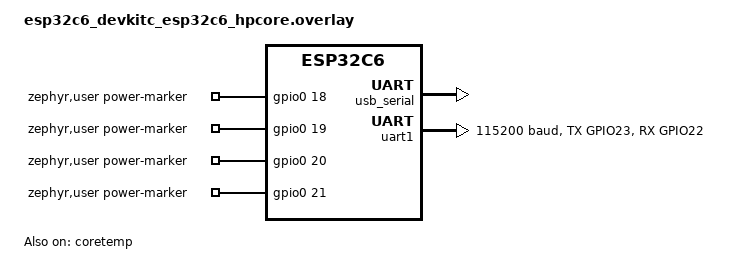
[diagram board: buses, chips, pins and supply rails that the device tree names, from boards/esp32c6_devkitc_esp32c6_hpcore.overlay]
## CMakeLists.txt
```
cmake_minimum_required(VERSION 3.20.0)

find_package(Zephyr REQUIRED HINTS $ENV{ZEPHYR_BASE})
project(zephyr_CellCom_app)

target_sources(app PRIVATE
    src/at_parser.c
    src/client_id.c
    src/ESP32_temperature.c
    src/main.c
    src/modem.c
    src/mqtt_client.c
    src/mqtt_payload.c
    src/power_marker.c
    src/modbus_client.c
    src/sparkplug.c
    src/time_sync.c
    src/wifi_network.c
)

# Sparkplug B payload: generate C structs from the .proto with nanopb.
# proto/sparkplug_b.options next to it limits array/string sizes.
# The generated header is included as "proto/sparkplug_b.pb.h".
list(APPEND CMAKE_MODULE_PATH ${ZEPHYR_BASE}/modules/nanopb)
include(nanopb)
zephyr_nanopb_sources(app proto/sparkplug_b.proto)
```

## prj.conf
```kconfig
CONFIG_NETWORKING=y
CONFIG_WIFI=y
CONFIG_NET_LOG=y
CONFIG_LOG=y
CONFIG_PRINTK=y
CONFIG_SENSOR=y
CONFIG_ESPTOOLPY_FLASHSIZE_4MB=y

CONFIG_NET_TCP=y
CONFIG_NET_IPV4=y
CONFIG_NET_DHCPV4=y

CONFIG_MQTT_LIB=y
CONFIG_NET_SOCKETS=y
CONFIG_POLL=y

CONFIG_ENTROPY_GENERATOR=y

CONFIG_MODBUS=y
CONFIG_MODBUS_ROLE_CLIENT=y
CONFIG_MODBUS_RAW_ADU=y
CONFIG_MODBUS_NUMOF_RAW_ADU=1
# Sparkplug B payloads (protobuf, via nanopb module)
CONFIG_NANOPB=y

# SNTP for real UTC timestamps in Sparkplug payloads
CONFIG_SNTP=y
CONFIG_NET_UDP=y
CONFIG_DNS_RESOLVER=y

# SIM7080G cellular modem on UART1 (AT commands, see modem.c / at_parser.c)
CONFIG_SERIAL=y
CONFIG_UART_INTERRUPT_DRIVEN=y
CONFIG_RING_BUFFER=y

# Main thread does the sampling loop
CONFIG_MAIN_STACK_SIZE=2048
```

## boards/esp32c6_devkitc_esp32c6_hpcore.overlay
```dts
#include <zephyr/dt-bindings/pinctrl/esp32c6-pinctrl.h>
#include <zephyr/dt-bindings/gpio/gpio.h>

/ {
    chosen {
        zephyr,console = &usb_serial;
        zephyr,shell-uart = &usb_serial;
    };

    /* Phase markers for PPK2 current measurements (power_marker.h).
     * Only driven when APP_POWER_MARKERS = 1. PPK2 logic port D0-D3. */
    zephyr,user {
        power-marker-gpios = <&gpio0 18 GPIO_ACTIVE_HIGH>,
                             <&gpio0 19 GPIO_ACTIVE_HIGH>,
                             <&gpio0 20 GPIO_ACTIVE_HIGH>,
                             <&gpio0 21 GPIO_ACTIVE_HIGH>;
    };
};

&usb_serial {
    status = "okay";
};

&coretemp {
    status = "okay";
    range-min = <(-10)>;
    range-max = <80>;
};

/* SIM7080G (M5Stamp CatM) cellular modem: ESP TX = GPIO23, RX = GPIO22 */
&pinctrl {
    uart1_modem: uart1_modem {
        group1 {
            pinmux = <UART1_TX_GPIO23>;
            output-high;
        };
        group2 {
            pinmux = <UART1_RX_GPIO22>;
            bias-pull-up;
        };
    };
};

&uart1 {
    status = "okay";
    current-speed = <115200>;
    pinctrl-0 = <&uart1_modem>;
    pinctrl-names = "default";
};
```

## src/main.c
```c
#include <zephyr/kernel.h>
#include <zephyr/logging/log.h>

#include "app_config.h"
#include "client_id.h"
#include "wifi_network.h"
#include "mqtt_client.h"
#include "time_sync.h"
#include "modbus_client.h"
#include "power_marker.h"

LOG_MODULE_REGISTER(app, LOG_LEVEL_INF);

/* A Modbus reading older than this is treated as missing (2 polls + slack) */
#define PLC_MAX_AGE_MS (2 * MODBUS_POLL_INTERVAL_MS + 1000)

BUILD_ASSERT(MODBUS_NUM_SENSORS == SP_NUM_SENSORS,
	     "Modbus register map and Sparkplug metrics must have the same sensors");

#ifdef APP_FAKE_PLC_DATA
/* Test mode: made-up PLC values, so the whole chain (Sparkplug -> broker ->
 * QuestDB) can be tested without the SimPLC. Every 6th sample flags the
 * bottom sensor as failed, to exercise the null values. */
static int fake_plc_sample(struct sparkplug_sample *s)
{
	static uint32_t n;

	n++;
	for (int i = 0; i < SP_NUM_SENSORS; i++) {
		s->temperature_c[i] = 20.0f + 2.0f * i + (float)(n % 5);
		s->humidity_pct[i] = 40.0f + 5.0f * i + (float)(n % 3);
	}
	s->plc_status = (n % 6 == 0) ? 0x4 : 0;
	s->plc_ok = true;
	return 0;
}
#endif

/* Fills s from the latest SimPLC reading. Sets s->plc_ok = false (all values
 * become null in Sparkplug) when there is no fresh reading or the PLC's
 * heartbeat has stopped, i.e. its scan cycle hangs and the values are old. */
static void plc_sample(struct sparkplug_sample *s)
{
#ifdef APP_FAKE_PLC_DATA
	fake_plc_sample(s);
#else
	static uint16_t last_heartbeat;
	static bool have_last;
	struct modbus_readings r;

	s->plc_ok = false;
	if (modbus_client_get_readings(&r) != 0) {
		LOG_WRN("no Modbus data from SimPLC");
		return;
	}
	if (k_uptime_get() - r.timestamp_ms > PLC_MAX_AGE_MS) {
		LOG_WRN("Modbus data is %lld ms old", (long long)(k_uptime_get() - r.timestamp_ms));
		return;
	}
	if (r.heartbeat == 0 || (have_last && r.heartbeat == last_heartbeat)) {
		LOG_WRN("SimPLC heartbeat not running (%u)", r.heartbeat);
		last_heartbeat = r.heartbeat;
		have_last = true;
		return;
	}
	last_heartbeat = r.heartbeat;
	have_last = true;

	for (int i = 0; i < SP_NUM_SENSORS; i++) {
		s->temperature_c[i] = r.temp_x10[i] / 10.0f;
		s->humidity_pct[i] = r.hum_x10[i] / 10.0f;
	}
	s->plc_status = r.status;
	s->plc_ok = true;
	/* Stamp with the time the PLC values were read, not when we sampled */
	s->timestamp_ms = (uint64_t)r.timestamp_ms;

	LOG_INF("PLC x10 temp %d %d %d, hum %d %d %d, status 0x%x",
		r.temp_x10[0], r.temp_x10[1], r.temp_x10[2],
		r.hum_x10[0], r.hum_x10[1], r.hum_x10[2], r.status);
#endif
}

int main(void)
{
	LOG_INF("Zephyr app started");
	power_marker_init();

	build_client_id_initialize();
	LOG_INF("client id: %s", build_client_id_get());

	/* Wi-Fi: the local network to the SimPLC (Modbus TCP), and the uplink
	 * when APP_UPLINK_CELLULAR = 0. APP_DISABLE_WIFI (test only, with
	 * APP_FAKE_PLC_DATA) keeps the Wi-Fi radio off. */
#ifdef APP_DISABLE_WIFI
	LOG_WRN("APP_DISABLE_WIFI: Wi-Fi radio not started");
#else
	if (network_initialize() != 0) {
		LOG_ERR("network init failed");
	}
#endif

#if !APP_UPLINK_CELLULAR
	/* Real UTC timestamps for Sparkplug. If this fails, the MQTT thread
	 * retries before each session. With the cellular uplink the MQTT thread
	 * gets the time from the modem once the data connection is up. */
	time_sync_initialize();
#endif

	mqtt_client_initialize();

#ifdef APP_FAKE_PLC_DATA
	LOG_WRN("APP_FAKE_PLC_DATA: sending made-up PLC values, not the SimPLC's");
#else
	if (modbus_client_initialize() != 0) {
		LOG_ERR("modbus init failed");
	}
#endif

	/* Application thread: sample on a fixed interval and queue the result.
	 * The MQTT thread batches and publishes, so a slow or broken network
	 * never shifts the sampling interval. */
	int64_t next = k_uptime_get();

	while (1) {
		/* Stamped with uptime (replaced by the PLC read time when there is
		 * fresh data); converted to UTC when it is sent */
		struct sparkplug_sample s = { .timestamp_ms = (uint64_t)k_uptime_get() };

		power_marker_set(PM_MARK_SAMPLE, true);
		plc_sample(&s);
		/* Queued even without PLC data: the nulls show the gap in QuestDB */
		mqtt_client_queue_sample(&s);
		power_marker_set(PM_MARK_SAMPLE, false);

		next += APP_SAMPLE_INTERVAL_S * MSEC_PER_SEC;
		k_sleep(K_TIMEOUT_ABS_MS(next));
	}

	return 0;
}
```

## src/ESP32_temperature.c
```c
#include <zephyr/kernel.h>
#include <zephyr/device.h>
#include <zephyr/drivers/sensor.h>
#include <zephyr/logging/log.h>

#include "ESP32_temperature.h"

LOG_MODULE_REGISTER(temperature, LOG_LEVEL_INF);

static const struct device *const temperature_sensor =
	DEVICE_DT_GET(DT_ALIAS(die_temp0));

int ESP32_temperature_initialize(void)
{
	if (!device_is_ready(temperature_sensor)) {
		LOG_ERR("Internal temperature sensor is not ready");
		return -ENODEV;
	}
	return 0;
}

int ESP32_temperature_read(float *celsius)
{
	struct sensor_value temperature;
	int ret;

	ret = sensor_sample_fetch(temperature_sensor);
	if (ret == 0) {
		ret = sensor_channel_get(temperature_sensor, SENSOR_CHAN_DIE_TEMP,
					 &temperature);
	}
	if (ret) {
		LOG_ERR("Failed to read internal temperature: %d", ret);
		return ret;
	}

	*celsius = (float)sensor_value_to_double(&temperature);
	return 0;
}
```

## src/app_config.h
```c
/* app_config.h - tunables for sampling, batching and Sparkplug naming.
 *
 * Everything that changes the data/power trade-off lives here, so it can be
 * tuned in one place (and argued for in the report).
 */

/* *** POWER TEST BRANCH: test 3 no batching: one session per sample (10 s). Not for production. *** */
#pragma once

/* Sparkplug B group id: first level after "spBv1.0/" in every topic.
 * Keep it short - it is sent in every single topic string. */
#ifndef SPARKPLUG_GROUP_ID
#define SPARKPLUG_GROUP_ID "GRP1"
#endif

/* How often the sensor is read (kravspec Projekt A: 5-15 s). */
#define APP_SAMPLE_INTERVAL_S   10

/* How often the node connects and sends everything it has collected
 * (option A: connect -> NBIRTH -> NDATA... -> NDEATH -> disconnect).
 * 3600 = hourly. Use something like 60 while developing. */
#ifndef APP_PUBLISH_INTERVAL_S
#define APP_PUBLISH_INTERVAL_S  10
#endif

/* After a failed session (no network, broker down) try again this soon. */
#ifndef APP_RETRY_INTERVAL_S
#define APP_RETRY_INTERVAL_S    300
#endif

/* Samples per NDATA message follow from the metric limit and the uplink's
 * message size (see SPARKPLUG_MAX_SAMPLES_PER_NDATA and mqtt_client.c).
 * One hour at 10 s = 360 samples of 7 metrics each: over cellular that is
 * ~52 messages of ~0.9 kB per session. */

/* Samples kept in RAM (40 B each, ~29 kB for 720). Two publish intervals, so
 * one failed session loses nothing. When full, the oldest sample is dropped. */
#define APP_SAMPLE_QUEUE_LEN    (2 * APP_PUBLISH_INTERVAL_S / APP_SAMPLE_INTERVAL_S)

/* Uplink to the broker: 1 = SIM7080G cellular modem (LTE-M) on UART1,
 * 0 = Wi-Fi with Zephyr's own MQTT client. Wi-Fi is started either way,
 * because Modbus TCP to the SimPLC runs over the local Wi-Fi.
 * Override with -DEXTRA_CFLAGS=-DAPP_UPLINK_CELLULAR=0 */
#ifndef APP_UPLINK_CELLULAR
#define APP_UPLINK_CELLULAR     1
#endif
#define APP_MODEM_APN           "onomondo"
/* How long to wait for LTE registration in a session before giving up. */
#define APP_MODEM_ATTACH_MS     120000

/* MQTT over TLS (issue #22). Cellular uplink only: TLS runs inside the
 * modem. The broker's TLS listener is on APP_MQTT_TLS_PORT; the CA its
 * certificate is checked against lives in mqtt_ca_cert.h.
 * Override with -DEXTRA_CFLAGS=-DAPP_MQTT_TLS=0 for plain MQTT on 1883. */
#ifndef APP_MQTT_TLS
#define APP_MQTT_TLS            1
#endif
#define APP_MQTT_TLS_PORT       8883

/* ---- Power measurement switches (PPK2 tests, see IoTEdge/tests/power) ---- */

/* 1 = drive phase markers on GPIO18-21 for the PPK2 logic port. */
#ifndef APP_POWER_MARKERS
#define APP_POWER_MARKERS       1
#endif

/* 1 = "no power saving": connect once and stay connected, publish every
 * sample right away as its own NDATA (no batching, no disconnect).
 * Cellular uplink only. 0 = option A sessions (the normal design). */
#ifndef APP_PERSISTENT_SESSION
#define APP_PERSISTENT_SESSION  0
#endif

/* SNTP: real UTC time for Sparkplug timestamps. Re-synced before a session
 * when the last sync is older than this, to correct clock drift. */
#define APP_SNTP_SERVER         "pool.ntp.org"
#define APP_SNTP_RESYNC_S       (24 * 3600)
```

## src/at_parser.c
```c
#include "at_parser.h"

#include <errno.h>
#include <string.h>
#include <zephyr/drivers/uart.h>
#include <zephyr/logging/log.h>
#include <zephyr/sys/atomic.h>
#include <zephyr/sys/ring_buffer.h>

LOG_MODULE_REGISTER(at_parser, LOG_LEVEL_INF);

struct urc_entry {
	const char *prefix;
	at_urc_cb_t cb;
	void *user;
	uint32_t flags;
};

/* Tilstand for den kommando der venter på svar. Beskyttes af st_mtx. */
struct at_state {
	bool pending;
	const char *cmd;      /* bruges til ekko-skip og til at genkende svarlinjer */
	const char *expect;   /* ekstra påkrævet linje-præfiks (kan være NULL) */
	bool prompt;          /* vent på '>' i stedet for OK */
	bool got_ok;
	bool got_expect;
	int result;
	char *resp;
	size_t resp_len;
	size_t resp_pos;
};

static const struct device *uart_dev;
static bool initialized;

static uint8_t rx_storage[AT_RX_RING_SIZE];
static struct ring_buf rx_rb;
static atomic_t rx_dropped;

static K_SEM_DEFINE(rx_sem, 0, 1);
static K_SEM_DEFINE(done_sem, 0, 1);
static K_MUTEX_DEFINE(cmd_mtx);   /* én kommando ad gangen */
static K_MUTEX_DEFINE(st_mtx);    /* beskytter st */

static K_THREAD_STACK_DEFINE(rx_stack, AT_RX_STACK_SIZE);
static struct k_thread rx_thread;

static struct urc_entry urcs[AT_MAX_URC];
static size_t n_urc;
static struct at_state st;

/* Last error line from the modem ("+CME ERROR: ..." with AT+CMEE=2), so a
 * failed command is logged with the reason, even when the caller passed no
 * response buffer. Protected by st_mtx. */
static char last_err[64];

/* ------------------------------------------------------------------ */
/* Hjælpere (kaldes med st_mtx låst)                                   */
/* ------------------------------------------------------------------ */

static void complete(int result)
{
	st.pending = false;
	st.result = result;
	k_sem_give(&done_sem);
}

static void check_done(void)
{
	if (st.got_ok && (st.expect == NULL || st.got_expect)) {
		complete(0);
	}
}

static void resp_append(const char *line)
{
	if (!st.resp || st.resp_len == 0) {
		return;
	}
	size_t n = strlen(line);

	if (st.resp_pos + n + 2 > st.resp_len) {
		LOG_WRN("resp-buffer fuld, linje droppet");
		return;
	}
	memcpy(&st.resp[st.resp_pos], line, n);
	st.resp_pos += n;
	st.resp[st.resp_pos++] = '\n';
	st.resp[st.resp_pos] = '\0';
}

static bool starts_with(const char *s, const char *prefix)
{
	return strncmp(s, prefix, strlen(prefix)) == 0;
}

static bool is_error(const char *line)
{
	return strcmp(line, "ERROR") == 0 || starts_with(line, "+CME ERROR") ||
	       starts_with(line, "+CMS ERROR");
}

/* "+CEREG: 0,5" er et svar på "AT+CEREG?" - navnet før ':' findes i kommandoen. */
static bool cmd_owns_line(const char *line)
{
	const char *colon = strchr(line, ':');

	if (!st.cmd || line[0] != '+' || !colon) {
		return false;
	}
	char name[24];
	size_t n = (size_t)(colon - line);

	if (n >= sizeof(name)) {
		return false;
	}
	memcpy(name, line, n);
	name[n] = '\0';
	return strstr(st.cmd, name) != NULL;
}

/* ------------------------------------------------------------------ */
/* Linjebehandling (kører i RX-tråden)                                 */
/* ------------------------------------------------------------------ */

static void process_line(const char *line)
{
	at_urc_cb_t cb = NULL;
	void *user = NULL;

	k_mutex_lock(&st_mtx, K_FOREVER);

	if (st.pending) {
		/* 1. ekko af vores egen kommando */
		if (st.cmd && strcmp(line, st.cmd) == 0) {
			goto out;
		}
		/* 2. ventet linje (fx "+APP PDP: 0,ACTIVE") - går forud for URC-dispatch */
		if (st.expect && starts_with(line, st.expect)) {
			resp_append(line);
			st.got_expect = true;
			if (st.got_ok) {
				check_done();
			}
			goto out;
		}
		/* Fil-upload (AT+CFSWFILE) beder om data med linjen "DOWNLOAD" i stedet for ">" */
		if (st.prompt && strcmp(line, "DOWNLOAD") == 0) {
			complete(0);
			goto out;
		}
		/* 3. slutkoder */
		if (strcmp(line, "OK") == 0) {
			st.got_ok = true;
			check_done();
			goto out;
		}
		if (is_error(line)) {
			resp_append(line);
			strncpy(last_err, line, sizeof(last_err) - 1);
			last_err[sizeof(last_err) - 1] = '\0';
			complete(-EIO);
			goto out;
		}
	}

	/* 4. URC? */
	for (size_t i = 0; i < n_urc; i++) {
		if (!starts_with(line, urcs[i].prefix)) {
			continue;
		}
		if (st.pending && !(urcs[i].flags & AT_URC_ALWAYS) && cmd_owns_line(line)) {
			break; /* svar på den aktuelle kommando, ikke URC */
		}
		cb = urcs[i].cb;
		user = urcs[i].user;
		goto out;
	}

	/* 5. alt andet under en kommando er svar (fx ATI / AT+CGMR har ingen præfiks) */
	if (st.pending) {
		resp_append(line);
	} else {
		LOG_DBG("ukendt linje: %s", line);
	}

out:
	k_mutex_unlock(&st_mtx);
	if (cb) {
		cb(line, user);
	}
}

static char line_buf[AT_LINE_MAX];
static size_t line_len;
static bool line_overflow;

static void feed(uint8_t c)
{
	if (c == '\r' || c == '\n') {
		if (line_overflow) {
			LOG_WRN("linje > %d bytes droppet", AT_LINE_MAX - 1);
		} else if (line_len > 0) {
			line_buf[line_len] = '\0';
			process_line(line_buf);
		}
		line_len = 0;
		line_overflow = false;
		return;
	}
	if (line_len == 0 && c == ' ') {
		return; /* spring ledende mellemrum over (fx "> ") */
	}
	if (line_len >= AT_LINE_MAX - 1) {
		line_overflow = true;
		return;
	}
	line_buf[line_len++] = (char)c;

	/* Prompt ">" kommer uden linjeskift */
	if (line_len == 1 && c == '>') {
		bool consumed = false;

		k_mutex_lock(&st_mtx, K_FOREVER);
		if (st.pending && st.prompt) {
			complete(0);
			consumed = true;
		}
		k_mutex_unlock(&st_mtx);
		if (consumed) {
			line_len = 0;
		}
	}
}

static void rx_entry(void *a, void *b, void *c)
{
	ARG_UNUSED(a);
	ARG_UNUSED(b);
	ARG_UNUSED(c);

	for (;;) {
		k_sem_take(&rx_sem, K_FOREVER);
		uint8_t ch;

		while (ring_buf_get(&rx_rb, &ch, 1) == 1) {
			feed(ch);
		}
	}
}

static void uart_isr(const struct device *dev, void *user_data)
{
	ARG_UNUSED(user_data);

	while (uart_irq_update(dev) && uart_irq_is_pending(dev)) {
		if (!uart_irq_rx_ready(dev)) {
			break;
		}
		uint8_t buf[32];
		int n;

		while ((n = uart_fifo_read(dev, buf, sizeof(buf))) > 0) {
			uint32_t put = ring_buf_put(&rx_rb, buf, (uint32_t)n);

			if (put < (uint32_t)n) {
				atomic_add(&rx_dropped, (atomic_val_t)(n - put));
			}
		}
		k_sem_give(&rx_sem);
	}
}

/* ------------------------------------------------------------------ */
/* TX og kommando-flow                                                 */
/* ------------------------------------------------------------------ */

static void tx(const void *data, size_t len)
{
	const uint8_t *p = data;

	for (size_t i = 0; i < len; i++) {
		uart_poll_out(uart_dev, p[i]);
	}
}

static void arm(const char *cmd, const char *expect, bool prompt, char *resp, size_t resp_len)
{
	k_mutex_lock(&st_mtx, K_FOREVER);
	memset(&st, 0, sizeof(st));
	st.pending = true;
	st.cmd = cmd;
	st.expect = expect;
	st.prompt = prompt;
	st.resp = resp;
	st.resp_len = resp_len;
	if (resp && resp_len) {
		resp[0] = '\0';
	}
	k_sem_reset(&done_sem);
	k_mutex_unlock(&st_mtx);
}

static int wait_done(k_timeout_t timeout)
{
	int ret;

	if (k_sem_take(&done_sem, timeout) != 0) {
		k_mutex_lock(&st_mtx, K_FOREVER);
		if (st.pending) {
			st.pending = false;
			ret = -ETIMEDOUT;
		} else {
			ret = st.result; /* blev færdig lige ved timeout */
		}
		k_mutex_unlock(&st_mtx);
		return ret;
	}
	k_mutex_lock(&st_mtx, K_FOREVER);
	ret = st.result;
	k_mutex_unlock(&st_mtx);
	return ret;
}

static void send_line(const char *cmd)
{
	tx(cmd, strlen(cmd));
	tx("\r", 1);
}

static int run(const char *cmd, const char *expect, char *resp, size_t resp_len,
	       k_timeout_t timeout)
{
	if (!initialized) {
		return -EBUSY;
	}
	if (!cmd || (resp == NULL) != (resp_len == 0)) {
		return -EINVAL;
	}
	k_mutex_lock(&cmd_mtx, K_FOREVER);
	arm(cmd, expect, false, resp, resp_len);
	LOG_DBG("> %s", cmd);
	send_line(cmd);
	int ret = wait_done(timeout);

	if (ret == -EIO) {
		LOG_WRN("'%s' -> %s", cmd, last_err);
	} else if (ret) {
		LOG_WRN("'%s' -> %d", cmd, ret);
	}
	k_mutex_unlock(&cmd_mtx);
	return ret;
}

/* ------------------------------------------------------------------ */
/* API                                                                 */
/* ------------------------------------------------------------------ */

int at_init(const struct device *uart)
{
	if (initialized) {
		return -EALREADY;
	}
	if (!uart || !device_is_ready(uart)) {
		return -ENODEV;
	}
	uart_dev = uart;
	ring_buf_init(&rx_rb, sizeof(rx_storage), rx_storage);

	int ret = uart_irq_callback_user_data_set(uart_dev, uart_isr, NULL);

	if (ret < 0) {
		LOG_ERR("UART IRQ API ikke understoettet (%d) - tjek CONFIG_UART_INTERRUPT_DRIVEN",
			ret);
		return ret;
	}
	uart_irq_rx_enable(uart_dev);

	k_thread_create(&rx_thread, rx_stack, K_THREAD_STACK_SIZEOF(rx_stack), rx_entry, NULL,
			NULL, NULL, K_PRIO_PREEMPT(5), 0, K_NO_WAIT);
	k_thread_name_set(&rx_thread, "at_rx");

	initialized = true;
	return 0;
}

int at_register_urc(const char *prefix, at_urc_cb_t cb, void *user, uint32_t flags)
{
	if (!prefix || !cb) {
		return -EINVAL;
	}
	if (n_urc >= AT_MAX_URC) {
		return -ENOSPC;
	}
	k_mutex_lock(&st_mtx, K_FOREVER);
	urcs[n_urc] = (struct urc_entry){ prefix, cb, user, flags };
	n_urc++;
	k_mutex_unlock(&st_mtx);
	return 0;
}

int at_send(const char *cmd, char *resp, size_t resp_len, k_timeout_t timeout)
{
	return run(cmd, NULL, resp, resp_len, timeout);
}

int at_send_expect(const char *cmd, const char *expect, char *resp, size_t resp_len,
		   k_timeout_t timeout)
{
	if (!expect) {
		return -EINVAL;
	}
	return run(cmd, expect, resp, resp_len, timeout);
}

int at_send_data(const char *cmd, const void *data, size_t len, k_timeout_t timeout)
{
	if (!initialized) {
		return -EBUSY;
	}
	if (!cmd || !data || len == 0) {
		return -EINVAL;
	}
	k_mutex_lock(&cmd_mtx, K_FOREVER);

	/* fase 1: kommando -> ">" */
	arm(cmd, NULL, true, NULL, 0);
	send_line(cmd);
	int ret = wait_done(timeout);

	if (ret == 0) {
		/* fase 2: data -> OK. Arm FØR data sendes, så OK ikke overses. */
		arm(cmd, NULL, false, NULL, 0);
		/* Modemet skriver "> " og skal derefter skifte til datatilstand. Sendes data
		 * i samme øjeblik som '>' ses, kan de første bytes gå tabt (set med TLS på
		 * SIM7080: tabte/ødelagte beskeder og "malformed packet" på brokeren). */
		k_msleep(AT_PROMPT_DELAY_MS);
		tx(data, len);
		ret = wait_done(timeout);
	}
	if (ret) {
		if (ret == -EIO) {
			LOG_WRN("'%s' (%u bytes) -> %s", cmd, (unsigned int)len, last_err);
		} else {
			LOG_WRN("'%s' (%u bytes) -> %d", cmd, (unsigned int)len, ret);
		}
	}
	k_mutex_unlock(&cmd_mtx);
	return ret;
}

uint32_t at_rx_dropped(void)
{
	return (uint32_t)atomic_get(&rx_dropped);
}
```

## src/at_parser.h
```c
/*
 * at_parser.h - generisk AT-kommandolag oven på en Zephyr UART (interrupt-drevet)
 *
 * Kender intet til SIMCom. Ansvar:
 *  - RX via UART IRQ -> ring buffer -> RX-tråd der samler linjer
 *  - én kommando ad gangen: send, saml svarlinjer, vent på OK / ERROR / +CME ERROR / timeout
 *  - URC-dispatch på prefix (uopfordrede linjer, fx "+APP PDP: 0,DEACTIVE")
 *  - prompt-kommandoer ("AT+SMPUB=..." -> ">" -> rå data -> OK)
 *
 * URC-callbacks kaldes fra RX-tråden: hold dem korte og kald ALDRIG at_send*() herfra.
 */
#ifndef AT_PARSER_H_
#define AT_PARSER_H_

#include <stddef.h>
#include <stdint.h>
#include <zephyr/kernel.h>
#include <zephyr/device.h>

#ifdef __cplusplus
extern "C" {
#endif

#ifndef AT_LINE_MAX
#define AT_LINE_MAX 1152      /* længste linje der kan modtages (inkl. +SMSUB payload) */
#endif
#ifndef AT_RX_RING_SIZE
#define AT_RX_RING_SIZE 2048  /* ISR -> tråd */
#endif
#ifndef AT_RX_STACK_SIZE
#define AT_RX_STACK_SIZE 3072
#endif
#ifndef AT_MAX_URC
#define AT_MAX_URC 16
#endif
#ifndef AT_PROMPT_DELAY_MS
#define AT_PROMPT_DELAY_MS 20 /* pause mellem ">" og data i at_send_data() */
#endif

/* URC-flag: linjen er ALTID et URC, også selvom den aktuelle kommando har samme præfiks
 * (fx "+SMSUB:" som kan komme midt i svaret på AT+SMSUB=...). */
#define AT_URC_ALWAYS BIT(0)

typedef void (*at_urc_cb_t)(const char *line, void *user);

/** Start RX (IRQ + tråd). Kræver CONFIG_UART_INTERRUPT_DRIVEN. */
int at_init(const struct device *uart);

/** Registrér callback for linjer der starter med prefix (fx "+CEREG:"). prefix skal leve evigt. */
int at_register_urc(const char *prefix, at_urc_cb_t cb, void *user, uint32_t flags);

/**
 * Send cmd (uden \r), vent på OK.
 * Returnerer 0 ved OK, -EIO ved ERROR/+CME ERROR (fejllinjen står i resp),
 * -ETIMEDOUT ved timeout, -EBUSY hvis parseren ikke er klar, -EINVAL ved ugyldige argumenter.
 * resp (valgfri) får alle svarlinjer mellem kommando og OK, adskilt af '\n'.
 */
int at_send(const char *cmd, char *resp, size_t resp_len, k_timeout_t timeout);

/**
 * Som at_send, men lykkes først når OK er set OG en linje der starter med `expect` er set
 * (til kommandoer hvor resultatet kommer som URC efter OK, fx "+APP PDP: 0,ACTIVE").
 */
int at_send_expect(const char *cmd, const char *expect, char *resp, size_t resp_len,
		   k_timeout_t timeout);

/**
 * Prompt-kommando: send cmd, vent på ">" (eller linjen "DOWNLOAD", som AT+CFSWFILE bruger),
 * send `data` (len bytes, binærsikkert), vent på OK.
 * timeout gælder for hver af de to faser.
 */
int at_send_data(const char *cmd, const void *data, size_t len, k_timeout_t timeout);

/** Antal bytes tabt pga. fuld RX-ring siden start (diagnostik). */
uint32_t at_rx_dropped(void);

#ifdef __cplusplus
}
#endif

#endif /* AT_PARSER_H_ */
```

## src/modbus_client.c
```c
/* Modbus TCP master: Zephyr raw-ADU client + our own TCP transport */
#include "modbus_client.h"
#include "modbus_settings.h"
#include "power_marker.h"

#include <errno.h>
#include <string.h>
#include <zephyr/kernel.h>
#include <zephyr/logging/log.h>
#include <zephyr/modbus/modbus.h>
#include <zephyr/net/socket.h>
#include <zephyr/sys/byteorder.h>

LOG_MODULE_REGISTER(modbus_edge, LOG_LEVEL_INF);

#define ADU_DATA_MAX     (CONFIG_MODBUS_BUFFER_SIZE - 4)
#define POLL_STACK_SIZE  4096
#define IO_TIMEOUT_MS    1000

static int iface = -1;
static int sock = -1;

static K_MUTEX_DEFINE(txn_lock);    /* one transaction at a time, owns sock */
static K_MUTEX_DEFINE(data_lock);   /* protects latest */
static struct modbus_readings latest;
static bool latest_valid;

static K_THREAD_STACK_DEFINE(poll_stack, POLL_STACK_SIZE);
static struct k_thread poll_thread_data;

static void sock_close(void)
{
	if (sock >= 0) {
		zsock_close(sock);
		sock = -1;
	}
}

static int sock_open(void)
{
	struct sockaddr_in addr = {
		.sin_family = AF_INET,
		.sin_port = htons(MODBUS_SERVER_PORT),
	};
	int fd;

	if (zsock_inet_pton(AF_INET, MODBUS_SERVER_IP, &addr.sin_addr) != 1) {
		LOG_ERR("Invalid Modbus server IP");
		return -EINVAL;
	}

	fd = zsock_socket(AF_INET, SOCK_STREAM, IPPROTO_TCP);
	if (fd < 0) {
		return -errno;
	}

	if (zsock_connect(fd, (struct sockaddr *)&addr, sizeof(addr)) < 0) {
		int err = -errno;

		zsock_close(fd);
		LOG_WRN("Modbus TCP connect failed: %d", err);
		return err;
	}

	sock = fd;
	LOG_INF("Modbus TCP connected");
	return 0;
}

static int send_all(int fd, const uint8_t *buf, size_t len)
{
	size_t sent = 0;

	while (sent < len) {
		ssize_t n = zsock_send(fd, buf + sent, len - sent, 0);

		if (n < 0) {
			return -errno;
		}
		sent += n;
	}
	return 0;
}

static int recv_exact(int fd, uint8_t *buf, size_t len, int timeout_ms)
{
	int64_t deadline = k_uptime_get() + timeout_ms;
	size_t got = 0;

	while (got < len) {
		int64_t left = deadline - k_uptime_get();
		struct zsock_pollfd p = { .fd = fd, .events = ZSOCK_POLLIN };
		ssize_t n;
		int rc;

		if (left <= 0) {
			return -ETIMEDOUT;
		}
		rc = zsock_poll(&p, 1, (int)left);
		if (rc < 0) {
			return -errno;
		}
		if (rc == 0) {
			return -ETIMEDOUT;
		}
		n = zsock_recv(fd, buf + got, len - got, 0);
		if (n < 0) {
			return -errno;
		}
		if (n == 0) {
			return -ECONNRESET;
		}
		got += n;
	}
	return 0;
}

/* Called by Zephyr's client in the caller's thread with the request ADU.
 * We send it, read and validate the reply, and hand it back with
 * modbus_raw_submit_rx(). The return value is ignored by Zephyr; if we
 * submit nothing, the client times out.
 */
static int raw_tx_cb(const int idx, const struct modbus_adu *adu, void *user_data)
{
	uint8_t frame[MODBUS_MBAP_AND_FC_LENGTH + ADU_DATA_MAX];
	uint8_t hdr[MODBUS_MBAP_AND_FC_LENGTH];
	struct modbus_adu rx = {0};
	uint16_t mbap_len;
	int rc;

	ARG_UNUSED(user_data);

	if (sock < 0) {
		return -ENOTCONN;
	}
	if (adu->length > ADU_DATA_MAX) {
		return -EMSGSIZE;
	}

	modbus_raw_put_header(adu, frame);
	memcpy(&frame[MODBUS_MBAP_AND_FC_LENGTH], adu->data, adu->length);

	rc = send_all(sock, frame, MODBUS_MBAP_AND_FC_LENGTH + adu->length);
	if (rc) {
		goto fail;
	}

	rc = recv_exact(sock, hdr, sizeof(hdr), IO_TIMEOUT_MS);
	if (rc) {
		goto fail;
	}

	/* Input validation (62443 CR 3.5): length, protocol, ids, function code */
	mbap_len = sys_get_be16(&hdr[4]);
	if (mbap_len < 2 || (mbap_len - 2) > ADU_DATA_MAX) {
		rc = -EBADMSG;
		goto fail;
	}

	modbus_raw_get_header(&rx, hdr);
	if (rx.proto_id != 0 || rx.trans_id != adu->trans_id ||
	    rx.unit_id != adu->unit_id ||
	    (rx.fc != adu->fc && rx.fc != (adu->fc | 0x80))) {
		rc = -EPROTO;
		goto fail;
	}

	rc = recv_exact(sock, rx.data, rx.length, IO_TIMEOUT_MS);
	if (rc) {
		goto fail;
	}

	return modbus_raw_submit_rx(idx, &rx);

fail:
	LOG_WRN("Modbus TCP transaction failed: %d", rc);
	sock_close();   /* any error: drop the connection, poll thread reconnects */
	return rc;
}

static int connect_locked(void)
{
	return (sock >= 0) ? 0 : sock_open();
}

static void store_readings(const uint16_t *regs)
{
	k_mutex_lock(&data_lock, K_FOREVER);
	for (int i = 0; i < MODBUS_NUM_SENSORS; i++) {
		latest.temp_x10[i] = (int16_t)regs[2 * i];
		latest.hum_x10[i] = (int16_t)regs[2 * i + 1];
	}
	latest.heartbeat = regs[MODBUS_IDX_HEARTBEAT];
	latest.status = regs[MODBUS_IDX_STATUS];
	latest.timestamp_ms = k_uptime_get();
	latest_valid = true;
	k_mutex_unlock(&data_lock);
}

static void poll_fn(void *p1, void *p2, void *p3)
{
	uint16_t regs[MODBUS_REG_COUNT];

	ARG_UNUSED(p1);
	ARG_UNUSED(p2);
	ARG_UNUSED(p3);

	while (1) {
		int64_t t0 = k_uptime_get();
		int rc;

		power_marker_set(PM_MARK_MODBUS, true);
		k_mutex_lock(&txn_lock, K_FOREVER);
		rc = connect_locked();
		if (rc == 0) {
			rc = modbus_read_holding_regs(iface, MODBUS_UNIT_ID, MODBUS_REG_START,
						      regs, MODBUS_REG_COUNT);
		}
		k_mutex_unlock(&txn_lock);
		power_marker_set(PM_MARK_MODBUS, false);

		if (rc == 0) {
			store_readings(regs);
		} else {
			LOG_WRN("Modbus poll failed: %d", rc);
			k_mutex_lock(&data_lock, K_FOREVER);
			latest_valid = false;
			k_mutex_unlock(&data_lock);
		}

		int64_t wait = MODBUS_POLL_INTERVAL_MS - (k_uptime_get() - t0);

		k_sleep(K_MSEC(wait > 0 ? wait : 0));
	}
}

int modbus_client_get_readings(struct modbus_readings *out)
{
	int rc = 0;

	k_mutex_lock(&data_lock, K_FOREVER);
	if (latest_valid) {
		*out = latest;
	} else {
		rc = -ENODATA;
	}
	k_mutex_unlock(&data_lock);
	return rc;
}

int modbus_client_set_coil(uint16_t coil, bool on)
{
	int rc;

	k_mutex_lock(&txn_lock, K_FOREVER);
	rc = connect_locked();
	if (rc == 0) {
		rc = modbus_write_coil(iface, MODBUS_UNIT_ID, coil, on);
	}
	k_mutex_unlock(&txn_lock);
	return rc;
}

int modbus_client_initialize(void)
{
	const struct modbus_iface_param param = {
		.mode = MODBUS_MODE_RAW,
		.rx_timeout = MODBUS_RX_TIMEOUT_US,
		.rawcb = { .raw_tx_cb = raw_tx_cb, .user_data = NULL },
	};
	int rc;

	iface = modbus_iface_get_by_name("RAW_0");
	if (iface < 0) {
		LOG_ERR("Modbus RAW_0 interface not found: %d", iface);
		return iface;
	}

	rc = modbus_init_client(iface, param);
	if (rc) {
		LOG_ERR("modbus_init_client failed: %d", rc);
		return rc;
	}

	k_thread_create(&poll_thread_data, poll_stack, K_THREAD_STACK_SIZEOF(poll_stack),
			poll_fn, NULL, NULL, NULL, 6, 0, K_NO_WAIT);
	k_thread_name_set(&poll_thread_data, "modbus_poll");
	return 0;
}
```

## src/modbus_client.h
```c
#pragma once

#include <stdbool.h>
#include <stdint.h>
#include "modbus_settings.h"

struct modbus_readings {
	int16_t temp_x10[MODBUS_NUM_SENSORS];
	int16_t hum_x10[MODBUS_NUM_SENSORS];
	uint16_t heartbeat;
	uint16_t status;        /* bit i set = sensor i failed its last read */
	int64_t timestamp_ms;   /* k_uptime_get() when received */
};

int modbus_client_initialize(void);
int modbus_client_get_readings(struct modbus_readings *out);  /* -ENODATA if none yet */
int modbus_client_set_coil(uint16_t coil, bool on);
```

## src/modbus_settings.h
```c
#pragma once

/* SimPLC's IP on the local Wi-Fi. It gets its address by DHCP, so on a new
 * network (e.g. a phone hotspot) override it at build time instead of editing,
 * without quotes (they get lost between PowerShell, CMake and the compiler):
 *   west build ... -- -DEXTRA_CFLAGS=-DMODBUS_SERVER_IP_RAW=192.168.1.50
 * The SimPLC prints its address on its serial port at boot. */
#define MODBUS_STR_(x) #x
#define MODBUS_STR(x)  MODBUS_STR_(x)
#ifdef MODBUS_SERVER_IP_RAW
#define MODBUS_SERVER_IP MODBUS_STR(MODBUS_SERVER_IP_RAW)
#endif
#ifndef MODBUS_SERVER_IP
#define MODBUS_SERVER_IP        "10.57.16.227"  /* SimPLC, check it is on the same subnet */
#endif
#define MODBUS_SERVER_PORT      502
#define MODBUS_UNIT_ID          1
#define MODBUS_POLL_INTERVAL_MS 5000            /* spec: 5-15 s */
#define MODBUS_RX_TIMEOUT_US    1000000         /* microseconds */

/* SimPLC holding registers: 2*i = temp x10, 2*i+1 = humidity x10 */
#define MODBUS_NUM_SENSORS      3               /* index 0/1/2 = top/middle/bottom (IoTSimPLC modbusTCP.h) */
#define MODBUS_REG_START        0
#define MODBUS_REG_COUNT        (2 * MODBUS_NUM_SENSORS + 2)
#define MODBUS_IDX_HEARTBEAT    (2 * MODBUS_NUM_SENSORS)
#define MODBUS_IDX_STATUS       (2 * MODBUS_NUM_SENSORS + 1)  /* bit i set = sensor i error */
/* SimPLC coils 0-5 = top/middle/bottom overheating, top/middle/bottom too humid.
 * The buzzer and display on the PLC follow these coils. */
#define MODBUS_COIL_TEMP_BASE   0
#define MODBUS_COIL_HUM_BASE    3
```

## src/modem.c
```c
#include "modem.h"
#include "at_parser.h"

#include <errno.h>
#include <stdarg.h>
#include <stdio.h>
#include <string.h>
#include <zephyr/kernel.h>
#include <zephyr/logging/log.h>
#include <zephyr/sys/atomic.h>
#include <zephyr/sys/printk.h>
#include <zephyr/sys/timeutil.h>

LOG_MODULE_REGISTER(modem, LOG_LEVEL_INF);

#define CMD_MAX 256

/* Timeouts (ms) - justér efter erfaring */
#define T_FAST_MS     1000
#define T_CONF_MS     5000
#define T_PDP_MS      20000
#define T_SMCONN_MS   60000
#define T_SMSUB_MS    10000
#define T_SMPUB_QOS0  5000
#define T_SMPUB_QOS12 15000
#define T_CNTP_MS     30000

/* Ældre end dette = modemets ur er ikke sat (efter boot uden NITZ står det på 1980). */
#define MODEM_MIN_VALID_YEAR 2024

static const struct modem_cfg *cfg;
static bool ca_uploaded;
static bool urcs_registered;
static atomic_t mqtt_up;
static atomic_t pdp_up_flag;

static modem_msg_cb_t msg_cb;
static void *msg_user;

static struct {
	char topic[MODEM_TOPIC_MAX];
	uint8_t qos;
	bool used;
} subs[MODEM_MAX_SUBS];

/* ------------------------------------------------------------------ */
/* Hjælpere                                                            */
/* ------------------------------------------------------------------ */

static bool bad_str(const char *s)
{
	return !s || strchr(s, '"') || strchr(s, '\r') || strchr(s, '\n');
}

static int cmdf(uint32_t timeout_ms, char *resp, size_t resp_len, const char *fmt, ...)
{
	char cmd[CMD_MAX];
	va_list ap;

	va_start(ap, fmt);
	int n = vsnprintk(cmd, sizeof(cmd), fmt, ap);
	va_end(ap);
	if (n < 0 || n >= (int)sizeof(cmd)) {
		return -ENOMEM;
	}
	return at_send(cmd, resp, resp_len, K_MSEC(timeout_ms));
}

static int conf_str(const char *key, const char *val)
{
	if (bad_str(val)) {
		return -EINVAL;
	}
	return cmdf(T_CONF_MS, NULL, 0, "AT+SMCONF=\"%s\",\"%s\"", key, val);
}

static int conf_num(const char *key, unsigned int val)
{
	return cmdf(T_CONF_MS, NULL, 0, "AT+SMCONF=\"%s\",%u", key, val);
}

/* ------------------------------------------------------------------ */
/* URC-håndtering                                                      */
/* ------------------------------------------------------------------ */

static void urc_ignore(const char *line, void *user)
{
	ARG_UNUSED(user);
	LOG_DBG("URC: %s", line);
}

static void urc_pdp(const char *line, void *user)
{
	ARG_UNUSED(user);
	LOG_INF("%s", line);
	if (strstr(line, "DEACTIVE")) {
		atomic_set(&pdp_up_flag, 0);
		atomic_set(&mqtt_up, 0);
	}
}

static void urc_smstate(const char *line, void *user)
{
	int s;

	ARG_UNUSED(user);
	if (sscanf(line, "+SMSTATE: %d", &s) == 1) {
		LOG_INF("MQTT state %d", s);
		atomic_set(&mqtt_up, s > 0);
	}
}

/* +SMSUB: "topic","payload" */
static void urc_smsub(const char *line, void *user)
{
	ARG_UNUSED(user);

	const char *p = strchr(line, '"');

	if (!p) {
		return;
	}
	p++;
	const char *q = strstr(p, "\",\"");

	if (!q) {
		return;
	}
	char topic[MODEM_TOPIC_MAX];
	size_t tl = (size_t)(q - p);

	if (tl >= sizeof(topic)) {
		LOG_WRN("topic for lang");
		return;
	}
	memcpy(topic, p, tl);
	topic[tl] = '\0';

	const char *pl = q + 3;
	size_t plen = strlen(pl);

	if (plen && pl[plen - 1] == '"') {
		plen--;
	}
	if (msg_cb) {
		msg_cb(topic, (const uint8_t *)pl, plen, msg_user);
	}
}

static void register_urcs(void)
{
	if (urcs_registered) {
		return;
	}
	at_register_urc("+SMSUB:", urc_smsub, NULL, AT_URC_ALWAYS);
	at_register_urc("+SMSTATE:", urc_smstate, NULL, 0);
	at_register_urc("+APP PDP:", urc_pdp, NULL, 0);
	/* Støj ved boot / netværksskift - sluges så den ikke havner i svar-buffere */
	at_register_urc("+CPIN:", urc_ignore, NULL, 0);
	at_register_urc("+CEREG:", urc_ignore, NULL, 0);
	at_register_urc("*PSUTTZ:", urc_ignore, NULL, 0);
	at_register_urc("DST:", urc_ignore, NULL, 0);
	at_register_urc("SMS Ready", urc_ignore, NULL, 0);
	at_register_urc("Call Ready", urc_ignore, NULL, 0);
	urcs_registered = true;
}

/* ------------------------------------------------------------------ */
/* Opstart og netværk                                                  */
/* ------------------------------------------------------------------ */

int modem_init(const struct device *uart, const struct modem_cfg *c)
{
	int ret;

	if (!c || !c->broker || !c->client_id) {
		return -EINVAL;
	}
	cfg = c;
	ca_uploaded = false; /* ny konfiguration kan have et andet CA */

	ret = at_init(uart);
	if (ret && ret != -EALREADY) {
		return ret;
	}
	register_urcs();

	/* Modulet kan stadig være ved at boote */
	ret = -ETIMEDOUT;
	for (int i = 0; i < 15 && ret; i++) {
		ret = at_send("AT", NULL, 0, K_MSEC(T_FAST_MS));
	}
	if (ret) {
		LOG_ERR("modulet svarer ikke paa AT");
		return -ETIMEDOUT;
	}
	ret = at_send("ATE0", NULL, 0, K_MSEC(T_FAST_MS));
	if (ret) {
		return ret;
	}
	at_send("AT+CMEE=2", NULL, 0, K_MSEC(T_FAST_MS)); /* tekstfejl i stedet for tal */

	char resp[48];

	ret = -ENODEV;
	for (int i = 0; i < 10 && ret; i++) {
		if (at_send("AT+CPIN?", resp, sizeof(resp), K_MSEC(T_CONF_MS)) == 0 &&
		    strstr(resp, "READY")) {
			ret = 0;
		} else {
			k_sleep(K_SECONDS(1));
		}
	}
	if (ret) {
		LOG_ERR("SIM ikke klar");
		return ret;
	}
	LOG_INF("modem klar");
	return 0;
}

int modem_attach(uint32_t timeout_ms)
{
	int64_t end = k_uptime_get() + timeout_ms;
	char resp[48];

	do {
		if (at_send("AT+CEREG?", resp, sizeof(resp), K_MSEC(T_CONF_MS)) == 0) {
			int n, stat;
			const char *p = strstr(resp, "+CEREG:");

			if (p && sscanf(p, "+CEREG: %d,%d", &n, &stat) == 2 &&
			    (stat == 1 || stat == 5)) {
				LOG_INF("registreret (CEREG %d)", stat);
				return 0;
			}
		}
		k_sleep(K_SECONDS(2));
	} while (k_uptime_get() < end);

	LOG_ERR("ingen LTE-registrering");
	return -ETIMEDOUT;
}

static bool pdp_has_ip(void)
{
	char resp[192];

	if (at_send("AT+CNACT?", resp, sizeof(resp), K_MSEC(T_CONF_MS)) != 0) {
		return false;
	}
	const char *p = strstr(resp, "+CNACT: 0,");
	int state;
	char ip[20];

	if (p && sscanf(p, "+CNACT: 0,%d,\"%19[^\"]\"", &state, ip) == 2 && state == 1) {
		LOG_INF("PDP aktiv, IP %s", ip);
		return true;
	}
	return false;
}

int modem_pdp_up(const char *apn)
{
	int ret;

	if (bad_str(apn)) {
		return -EINVAL;
	}
	if (pdp_has_ip()) {
		atomic_set(&pdp_up_flag, 1);
		return 0;
	}
	ret = cmdf(T_CONF_MS, NULL, 0, "AT+CNCFG=0,1,\"%s\"", apn);
	if (ret) {
		return ret;
	}
	ret = at_send_expect("AT+CNACT=0,1", "+APP PDP: 0,ACTIVE", NULL, 0, K_MSEC(T_PDP_MS));
	if (ret == 0) {
		atomic_set(&pdp_up_flag, 1);
		pdp_has_ip(); /* logger IP */
	}
	return ret;
}

int modem_pdp_down(void)
{
	atomic_set(&mqtt_up, 0);
	atomic_set(&pdp_up_flag, 0);
	return at_send("AT+CNACT=0,0", NULL, 0, K_MSEC(T_PDP_MS));
}

/* ------------------------------------------------------------------ */
/* MQTT                                                                */
/* ------------------------------------------------------------------ */

static int smstate_query(void)
{
	char resp[48];
	int s = -1;

	if (at_send("AT+SMSTATE?", resp, sizeof(resp), K_MSEC(T_CONF_MS)) != 0) {
		return -EIO;
	}
	const char *p = strstr(resp, "+SMSTATE:");

	if (!p || sscanf(p, "+SMSTATE: %d", &s) != 1) {
		return -EBADMSG;
	}
	atomic_set(&mqtt_up, s > 0);
	return s;
}

/* ------------------------------------------------------------------ */
/* TLS                                                                 */
/* ------------------------------------------------------------------ */

#define CA_FILE      "ca.pem"
#define T_CFS_MS     10000
#define SSL_CTX      0      /* AT+CSSLCFG-kontekst; AT+SMSSL=1 peger på kontekst 0 */

/* Hostname (til SNI) eller rå IPv4? SNI må ikke indeholde en IP-adresse. */
static bool is_ipv4(const char *s)
{
	for (; *s; s++) {
		if (!((*s >= '0' && *s <= '9') || *s == '.')) {
			return false;
		}
	}
	return true;
}

/* Lægger CA-certifikatet i modemets filsystem og konverterer det til modemets eget
 * format. Én gang pr. boot; filen overlever ikke nødvendigvis et modem-reset. */
static int upload_ca(const char *pem)
{
	size_t len = strlen(pem);
	int ret;

	if (len == 0 || len > 10240) {
		return -EINVAL;
	}
	ret = at_send("AT+CFSINIT", NULL, 0, K_MSEC(T_CONF_MS));
	if (ret) {
		return ret;
	}
	char cmd[64];

	/* dir 3 = /customer, mode 0 = overskriv, timeout i ms til at modtage data */
	snprintk(cmd, sizeof(cmd), "AT+CFSWFILE=3,\"%s\",0,%u,%u", CA_FILE, (unsigned int)len,
		 T_CFS_MS);
	ret = at_send_data(cmd, pem, len, K_MSEC(T_CFS_MS));
	(void)at_send("AT+CFSTERM", NULL, 0, K_MSEC(T_CONF_MS));
	if (ret) {
		LOG_ERR("CA-upload fejlede (%d)", ret);
		return ret;
	}
	/* 2 = rodcertifikat */
	ret = cmdf(T_CONF_MS, NULL, 0, "AT+CSSLCFG=\"CONVERT\",2,\"%s\"", CA_FILE);
	if (ret) {
		LOG_ERR("CA-certifikatet kunne ikke konverteres (%d) - er det gyldig PEM?", ret);
		return ret;
	}
	LOG_INF("CA-certifikat uploadet (%u bytes)", (unsigned int)len);
	return 0;
}

static int tls_configure(void)
{
	bool verify = cfg->ca_cert_pem && cfg->ca_cert_pem[0];
	int ret;

	if (!cfg->tls) {
		return at_send("AT+SMSSL=0", NULL, 0, K_MSEC(T_CONF_MS));
	}
	if (verify && !ca_uploaded) {
		ret = upload_ca(cfg->ca_cert_pem);
		if (ret) {
			return ret;
		}
		ca_uploaded = true;
	}
	/* 3 = TLS 1.2 */
	ret = cmdf(T_CONF_MS, NULL, 0, "AT+CSSLCFG=\"SSLVERSION\",%d,3", SSL_CTX);
	if (ret) {
		return ret;
	}
	if (!is_ipv4(cfg->broker)) {
		ret = cmdf(T_CONF_MS, NULL, 0, "AT+CSSLCFG=\"SNI\",%d,\"%s\"", SSL_CTX, cfg->broker);
		if (ret) {
			return ret;
		}
	}
	if (!verify) {
		LOG_WRN("TLS uden certifikat-tjek (ingen CA sat)");
	}
	return cmdf(T_CONF_MS, NULL, 0, "AT+SMSSL=1,\"%s\",\"\"", verify ? CA_FILE : "");
}

static int sub_at(const char *topic, int qos)
{
	return cmdf(T_SMSUB_MS, NULL, 0, "AT+SMSUB=\"%s\",%d", topic, qos);
}

int modem_mqtt_connect(void)
{
	int ret;

	if (!cfg) {
		return -EINVAL;
	}
	if (smstate_query() > 0) {
		return 0; /* allerede forbundet */
	}
	if (bad_str(cfg->broker) || bad_str(cfg->client_id)) {
		return -EINVAL;
	}

	ret = cmdf(T_CONF_MS, NULL, 0, "AT+SMCONF=\"URL\",\"%s\",%u", cfg->broker, cfg->port);
	if (ret) {
		return ret;
	}
	ret = conf_num("KEEPTIME", cfg->keepalive_s ? cfg->keepalive_s : 60);
	if (ret) {
		return ret;
	}
	ret = conf_num("CLEANSS", cfg->clean_session ? 1 : 0);
	if (ret) {
		return ret;
	}
	ret = conf_str("CLIENTID", cfg->client_id);
	if (ret) {
		return ret;
	}
	/* Altid sæt (eller ryd) login, så værdier fra en tidligere konfiguration ikke hænger ved */
	ret = conf_str("USERNAME", cfg->username ? cfg->username : "");
	if (ret) {
		return ret;
	}
	ret = conf_str("PASSWORD", cfg->password ? cfg->password : "");
	if (ret) {
		return ret;
	}
	/* Ingen Will (se modem.h): tomt topic = ingen Will i CONNECT */
	ret = conf_str("TOPIC", "");
	if (ret) {
		return ret;
	}
	ret = conf_str("MESSAGE", "");
	if (ret) {
		return ret;
	}
	ret = tls_configure();
	if (ret) {
		return ret;
	}

	LOG_INF("MQTT connect %s:%u%s", cfg->broker, cfg->port, cfg->tls ? " (TLS)" : "");
	ret = at_send("AT+SMCONN", NULL, 0, K_MSEC(T_SMCONN_MS));
	if (ret) {
		return ret;
	}
	atomic_set(&mqtt_up, 1);

	/* Gen-abonnér (relevant ved clean session / reconnect) */
	for (int i = 0; i < MODEM_MAX_SUBS; i++) {
		if (subs[i].used) {
			int r = sub_at(subs[i].topic, subs[i].qos);

			if (r) {
				LOG_WRN("resubscribe '%s' fejlede (%d)", subs[i].topic, r);
			}
		}
	}
	return 0;
}

int modem_mqtt_disconnect(void)
{
	atomic_set(&mqtt_up, 0);
	return at_send("AT+SMDISC", NULL, 0, K_MSEC(T_CONF_MS));
}

bool modem_mqtt_is_connected(void)
{
	return atomic_get(&mqtt_up) != 0;
}

int modem_connect(void)
{
	int ret = modem_attach(120000);

	if (ret) {
		return ret;
	}
	ret = modem_pdp_up(cfg->apn);
	if (ret) {
		return ret;
	}
	return modem_mqtt_connect();
}

int modem_mqtt_publish(const char *topic, const void *payload, size_t len, int qos, bool retain)
{
	if (bad_str(topic) || !payload || qos < 0 || qos > 2) {
		return -EINVAL;
	}
	if (len == 0 || len > MODEM_MQTT_MAX_PAYLOAD) {
		return -EMSGSIZE;
	}
	if (!modem_mqtt_is_connected()) {
		return -ENOTCONN;
	}

	char cmd[CMD_MAX];
	int n = snprintk(cmd, sizeof(cmd), "AT+SMPUB=\"%s\",%u,%d,%d", topic, (unsigned int)len,
			 qos, retain ? 1 : 0);

	if (n < 0 || n >= (int)sizeof(cmd)) {
		return -ENOMEM;
	}
	int ret = at_send_data(cmd, payload, len,
			       K_MSEC(qos ? T_SMPUB_QOS12 : T_SMPUB_QOS0));

	if (ret) {
		smstate_query(); /* opdatér cached forbindelsesstatus */
	}
	return ret;
}

int modem_mqtt_subscribe(const char *topic, int qos)
{
	if (bad_str(topic) || strlen(topic) >= MODEM_TOPIC_MAX || qos < 0 || qos > 2) {
		return -EINVAL;
	}
	int slot = -1;

	for (int i = 0; i < MODEM_MAX_SUBS; i++) {
		if (subs[i].used && strcmp(subs[i].topic, topic) == 0) {
			slot = i;
			break;
		}
		if (!subs[i].used && slot < 0) {
			slot = i;
		}
	}
	if (slot < 0) {
		return -ENOSPC;
	}
	strncpy(subs[slot].topic, topic, MODEM_TOPIC_MAX - 1);
	subs[slot].topic[MODEM_TOPIC_MAX - 1] = '\0';
	subs[slot].qos = (uint8_t)qos;
	subs[slot].used = true;

	if (!modem_mqtt_is_connected()) {
		return 0; /* tegnes ved næste connect */
	}
	return sub_at(topic, qos);
}

void modem_set_message_cb(modem_msg_cb_t cb, void *user)
{
	msg_cb = cb;
	msg_user = user;
}

/* ------------------------------------------------------------------ */
/* UTC-tid                                                             */
/* ------------------------------------------------------------------ */

/* Dato/tid + tidszone i kvarte timer (som SIMCom angiver den) -> ms siden epoch, UTC. */
static int to_epoch_ms(int year, int mon, int day, int hour, int min, int sec, int tz_quarters,
		       int64_t *out)
{
	if (year < MODEM_MIN_VALID_YEAR || mon < 1 || mon > 12 || day < 1 || day > 31 ||
	    hour < 0 || hour > 23 || min < 0 || min > 59 || sec < 0 || sec > 60) {
		return -EAGAIN;
	}
	struct tm tm = {
		.tm_year = year - 1900,
		.tm_mon = mon - 1,
		.tm_mday = day,
		.tm_hour = hour,
		.tm_min = min,
		.tm_sec = sec,
	};
	/* Modemet angiver lokal tid = UTC + tz, så UTC = lokal tid - tz */
	int64_t t = timeutil_timegm64(&tm) - (int64_t)tz_quarters * 15 * 60;

	*out = t * MSEC_PER_SEC;
	return 0;
}

/* +CNTP: 1,"2026/11/11,09:30:48"  (1 = OK, 61..66 = netværk/DNS/timeout-fejl) */
static int time_from_ntp(const char *server, int64_t *out)
{
	char resp[96];
	int code, y, mo, d, h, mi, s;
	int ret;

	if (bad_str(server)) {
		return -EINVAL;
	}
	ret = at_send("AT+CNTPCID=0", NULL, 0, K_MSEC(T_FAST_MS));
	if (ret) {
		return ret;
	}
	/* tidszone 0, PDP-kontekst 0, mode 2 = sæt modemets ur OG returnér tiden */
	ret = cmdf(T_CONF_MS, NULL, 0, "AT+CNTP=\"%s\",0,0,2", server);
	if (ret) {
		return ret;
	}
	/* Resultatet kommer som en linje efter OK */
	ret = at_send_expect("AT+CNTP", "+CNTP:", resp, sizeof(resp), K_MSEC(T_CNTP_MS));
	if (ret) {
		return ret;
	}
	const char *p = strstr(resp, "+CNTP:");

	if (!p || sscanf(p, "+CNTP: %d", &code) != 1) {
		return -EBADMSG;
	}
	if (code != 1) {
		LOG_WRN("NTP fejlede (kode %d)", code);
		return -EIO;
	}
	if (sscanf(p, "+CNTP: %d,\"%d/%d/%d,%d:%d:%d\"", &code, &y, &mo, &d, &h, &mi, &s) != 7) {
		return -EBADMSG;
	}
	return to_epoch_ms(y, mo, d, h, mi, s, 0, out);
}

/* +CCLK: "26/11/11,10:30:16+04"  (lokal tid, tidszone i kvarte timer) */
static int time_from_cclk(int64_t *out)
{
	char resp[64];
	int y, mo, d, h, mi, s, tz;
	char sign;
	int ret = at_send("AT+CCLK?", resp, sizeof(resp), K_MSEC(T_CONF_MS));

	if (ret) {
		return ret;
	}
	const char *p = strstr(resp, "+CCLK:");

	if (!p || sscanf(p, "+CCLK: \"%d/%d/%d,%d:%d:%d%c%d\"", &y, &mo, &d, &h, &mi, &s, &sign,
			 &tz) != 8) {
		return -EBADMSG;
	}
	if (sign == '-') {
		tz = -tz;
	}
	/* To-cifret år: "80" er modemets standard (1980) = ikke sat */
	y += (y >= 70) ? 1900 : 2000;
	return to_epoch_ms(y, mo, d, h, mi, s, tz, out);
}

int modem_get_utc_ms(const char *ntp_server, int64_t *epoch_ms)
{
	int ret;

	if (!epoch_ms) {
		return -EINVAL;
	}
	if (ntp_server && atomic_get(&pdp_up_flag)) {
		ret = time_from_ntp(ntp_server, epoch_ms);
		if (ret == 0) {
			LOG_INF("UTC fra NTP (%s)", ntp_server);
			return 0;
		}
		LOG_WRN("NTP via modem fejlede (%d), prøver modemets ur", ret);
	}
	ret = time_from_cclk(epoch_ms);
	if (ret == 0) {
		LOG_INF("UTC fra modemets ur (NITZ/RTC)");
	} else {
		LOG_WRN("modemets ur har ingen gyldig tid (%d)", ret);
	}
	return ret;
}
```

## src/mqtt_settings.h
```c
#pragma once

#define MQTT_PUBLISH_TOPIC   "mqtt topic"              /* e.g. "test/test" */
#define MQTT_BROKER_HOSTNAME "mett broker IPv4"        /* e.g. "192.168.10.10" */
#define MQTT_BROKER_PORT     0                         /* e.g. 1883, set your own */
#define MQTT_ESP32_USER      "mqtt brugernavn"	       /* e.g. esp32test, set your own */
#define MQTT_ESP32_PASS      "mqtt password"	       /* e.g. esp32test's password */
```
